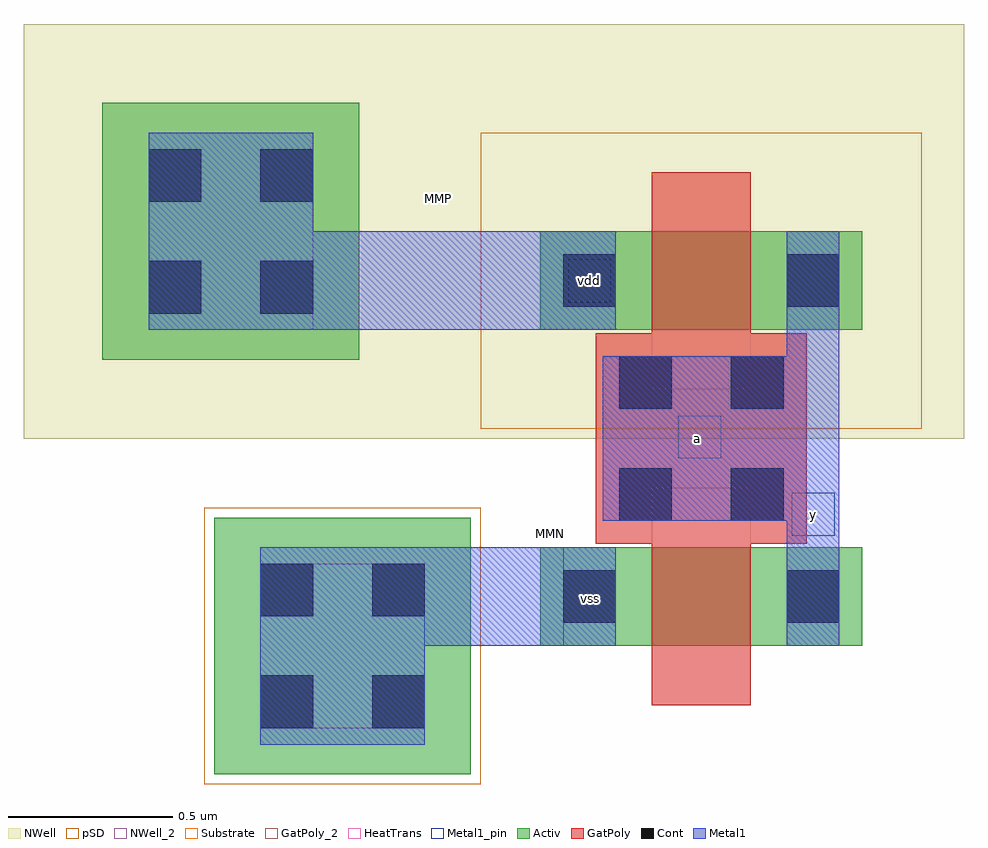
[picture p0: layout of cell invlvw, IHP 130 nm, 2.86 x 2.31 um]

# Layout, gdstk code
import gdstk
lib = gdstk.Library(unit=1e-6, precision=1e-09)
def R(c, l, rs):  # rectangles x0, y0, x1, y1
    for r in rs: c.add(gdstk.rectangle(r[:2], r[2:], *l))
Activ = (1, 0)
GatPoly = (5, 0)
GatPoly_2 = (5, 2)
Cont = (6, 0)
Metal1 = (8, 0)
Metal1_pin = (8, 2)
pSD = (14, 0)
NWell = (31, 0)
NWell_2 = (31, 2)
Substrate = (40, 0)
HeatTrans = (51, 0)

ntap1 = lib.new_cell('ntap1')
R(ntap1, Activ, [(0,0,0.78,0.78)])
R(ntap1, Cont, [(0.14,0.14,0.3,0.3), (0.48,0.14,0.64,0.3), (0.14,0.48,0.3,0.64), (0.48,0.48,0.64,0.64)])
R(ntap1, Metal1, [(0.14,0.09,0.64,0.69)])
R(ntap1, Metal1_pin, [(0.14,0.09,0.64,0.69), (0.14,0.14,0.64,0.64)])
R(ntap1, NWell, [(-0.24,-0.24,1.02,1.02), (0,0,0.78,0.78)])
R(ntap1, NWell_2, [(0,0,0.78,0.78)])
ntap1.add(gdstk.Label('well', (0.39,0.01), layer=31, texttype=0))
ntap1.add(gdstk.Label('well', (0.39,0.01), layer=63, texttype=0))

pmos = lib.new_cell('pmos')
R(pmos, Activ, [(0,0,0.3,0.3), (0,0,0.98,0.3), (0.68,0,0.98,0.3)])
R(pmos, GatPoly, [(0.34,-0.18,0.64,0.48), (0.34,-0.18,0.64,0.48)])
R(pmos, Cont, [(0.07,0.07,0.23,0.23), (0.75,0.07,0.91,0.23)])
R(pmos, Metal1, [(0.07,0,0.23,0.3), (0.07,0,0.23,0.3), (0.75,0,0.91,0.3), (0.75,0,0.91,0.3)])
R(pmos, pSD, [(-0.18,-0.3,1.16,0.6)])
R(pmos, NWell, [(-0.31,-0.31,1.29,0.61)])
R(pmos, HeatTrans, [(0.34,-0.18,0.64,0.48)])
pmos.add(gdstk.Label('pmos', (0.49,0.15), layer=63, texttype=0))
pmos.add(gdstk.Label('pmos', (0.49,0.15), layer=51, texttype=0))

ptap1 = lib.new_cell('ptap1')
R(ptap1, Activ, [(0,0,0.78,0.78)])
R(ptap1, Cont, [(0.14,0.14,0.3,0.3), (0.48,0.14,0.64,0.3), (0.14,0.48,0.3,0.64), (0.48,0.48,0.64,0.64)])
R(ptap1, Metal1, [(0.14,0.09,0.64,0.69), (0.14,0.14,0.64,0.64)])
R(ptap1, Metal1_pin, [(0.14,0.14,0.64,0.64)])
R(ptap1, pSD, [(-0.03,-0.03,0.81,0.81)])
R(ptap1, Substrate, [(0,0,0.78,0.78)])
ptap1.add(gdstk.Label('sub!', (0.39,0.01), layer=63, texttype=0))
ptap1.add(gdstk.Label('sub!', (0.39,0.01), layer=40, texttype=0))

via_stack = lib.new_cell('via_stack')
R(via_stack, GatPoly, [(-0.32,-0.32,0.32,0.32)])
R(via_stack, Cont, [(-0.25,-0.25,-0.09,-0.09), (0.09,-0.25,0.25,-0.09), (-0.25,0.09,-0.09,0.25), (0.09,0.09,0.25,0.25)])
R(via_stack, Metal1, [(-0.3,-0.25,0.3,0.25)])

nmos = lib.new_cell('nmos')
R(nmos, Activ, [(0,0,0.3,0.3), (0,0,0.98,0.3), (0.68,0,0.98,0.3)])
R(nmos, GatPoly, [(0.34,-0.18,0.64,0.48)])
R(nmos, GatPoly_2, [(0.34,-0.18,0.64,0.48)])
R(nmos, Cont, [(0.07,0.07,0.23,0.23), (0.75,0.07,0.91,0.23)])
R(nmos, Metal1, [(0.07,0,0.23,0.3), (0.75,0,0.91,0.3)])
R(nmos, Metal1_pin, [(0.07,0,0.23,0.3), (0.75,0,0.91,0.3)])
R(nmos, HeatTrans, [(0.34,-0.18,0.64,0.48)])
nmos.add(gdstk.Label('nmos', (0.49,0.15), layer=63, texttype=0))
nmos.add(gdstk.Label('nmos', (0.49,0.15), layer=51, texttype=0))

invlvw = lib.new_cell('invlvw')
R(invlvw, Metal1, [(-0.04,0.45,0.38,0.75), (1.06,0.75,1.22,1.41), (-0.38,1.41,0.38,1.71)])
R(invlvw, Metal1_pin, [(0.4,0.52,0.53,0.65), (1.075,0.785,1.205,0.915), (0.73,1.02,0.86,1.15), (0.395,1.495,0.525,1.625)])
R(invlvw, NWell, [(-1.26,1.08,1.6,2.34)])
invlvw.add(gdstk.Reference(ntap1, (-1.02,1.32)))
invlvw.add(gdstk.Reference(pmos, (0.31,1.41)))
invlvw.add(gdstk.Reference(ptap1, (-0.68,0.06)))
invlvw.add(gdstk.Reference(via_stack, (0.8,1.08)))
invlvw.add(gdstk.Reference(nmos, (0.31,0.45)))
invlvw.add(gdstk.Label('MMP', (0,1.81), layer=63, texttype=0))
invlvw.add(gdstk.Label('MMN', (0.341,0.791), layer=63, texttype=0))
invlvw.add(gdstk.Label('y', (1.14,0.85), layer=8, texttype=25))
invlvw.add(gdstk.Label('vss', (0.464,0.594), layer=8, texttype=25))
invlvw.add(gdstk.Label('vdd', (0.46,1.56), layer=8, texttype=25))
invlvw.add(gdstk.Label('a', (0.79,1.08), layer=8, texttype=25))

lib.write_gds('invlvw.gds')
